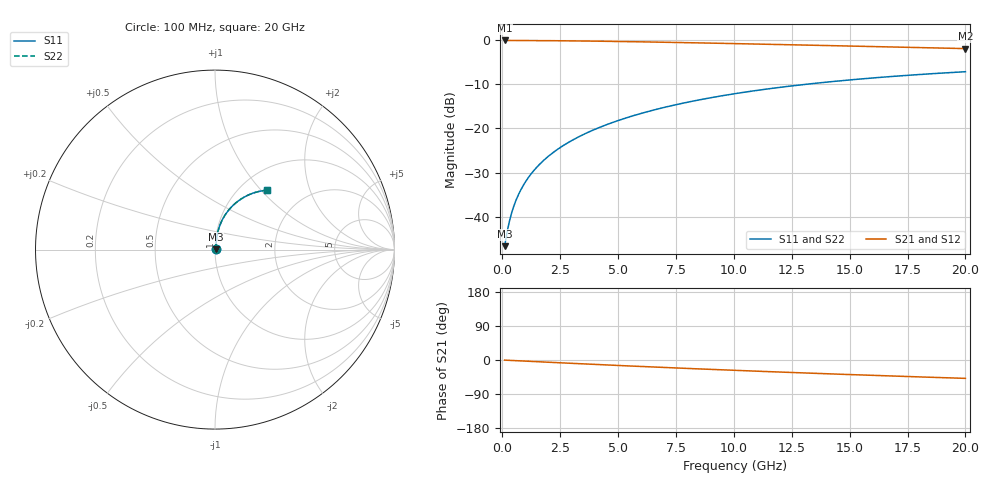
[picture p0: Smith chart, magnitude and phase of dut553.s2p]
! Touchstone file exported from HFSS 2024.1.0
!  File:  C:/UserFiles/LocalFiles/RDL_TSV_Batchsim/temp_RDL_bottom_553_1779689468.aedt
!  Generated:  02:14:01 PM May 25, 2026
!  Design:  RDL_bottom
!  Project:  temp_RDL_bottom_553_1779689468
!  Setup:  Setup1
!  Solution:  Sweep
! Variables:
!  dtsv = 10.80580581um
!  hbump = 3um
!  htsv = 57.55um
!  ldown = 690.09um
!  lrdl = 100um
!  p = 40
!  p1 = 50.73um
!  rhole = 1um
!  t = 450um
!  tdown = 3.35um
!  trdl = 3.915915916um
!  wdown = 20.06um
!  wrdl = 20um
# GHz S MA R 50.000000
! Terminal data exported
! Port[1] = RDL1_T1
! Port[2] = RDL1_T2
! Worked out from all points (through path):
!   200 points, 100 MHz to 20 GHz, reference 50 ohm
!   highest |S21| = -0.03 dB at 100 MHz (marker M1); lowest = -1.9 dB at 20 GHz (marker M2)
!   group delay of S21, straight-line fit = 6.7 ps
!   lowest |S11| = -46.7 dB at 100 MHz (marker M3), VSWR 1.01, Z = 50.4 + j0.264 ohm
!   |S11| at or under -10 dB: start of sweep to 13.08 GHz
!   |S22| runs from -46.7 to -7.1 dB; largest |S21 - S12| = 1.6e-14
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0.1  0.004621 34.5  0.9962 -0.3  0.9962 -0.3  0.004621 34.5
! Gamma 0 0 0 0
! Port Impedance 50 0 50 0
0.2  0.006513 52.5  0.996 -0.6  0.996 -0.6  0.006512 52.5
0.3  0.008691 61.5  0.9958 -0.9  0.9958 -0.9  0.008691 61.5
0.4  0.01094 66.7  0.9956 -1.2  0.9956 -1.2  0.01094 66.7
0.5  0.01321 70.1  0.9954 -1.5  0.9954 -1.5  0.01321 70.1
0.6  0.01549 72.5  0.9951 -1.8  0.9951 -1.8  0.01549 72.5
0.8  0.0201 75.8  0.9947 -2.4  0.9947 -2.4  0.0201 75.8
1.1  0.02711 78.6  0.994 -3.3  0.994 -3.3  0.02711 78.6
1.3  0.03183 79.7  0.9934 -3.9  0.9934 -3.9  0.03183 79.7
1.6  0.03897 80.8  0.9924 -4.8  0.9924 -4.8  0.03897 80.8
2.1  0.051 81.7  0.9903 -6.2  0.9903 -6.2  0.051 81.7
2.7  0.0656 81.9  0.9872 -8.0  0.9872 -8.0  0.0656 81.9
3.5  0.08534 81.5  0.9821 -10.3  0.9821 -10.3  0.08534 81.5
4.2  0.1028 80.7  0.9769 -12.2  0.9769 -12.2  0.1028 80.7
5  0.1229 79.6  0.9702 -14.4  0.9702 -14.4  0.1229 79.6
5.9  0.1457 78.1  0.9619 -16.9  0.9619 -16.9  0.1457 78.1
6.8  0.1685 76.4  0.953 -19.2  0.953 -19.2  0.1685 76.4
8.4  0.2084 73.1  0.9361 -23.3  0.9361 -23.3  0.2084 73.1
10.1  0.2494 69.4  0.9172 -27.4  0.9172 -27.4  0.2494 69.4
13.4  0.323 62.1  0.8794 -35.0  0.8794 -35.0  0.323 62.1
16.7  0.3867 55.2  0.8417 -42.0  0.8417 -42.0  0.3868 55.2
20  0.4404 48.7  0.8054 -48.5  0.8054 -48.5  0.4404 48.7
